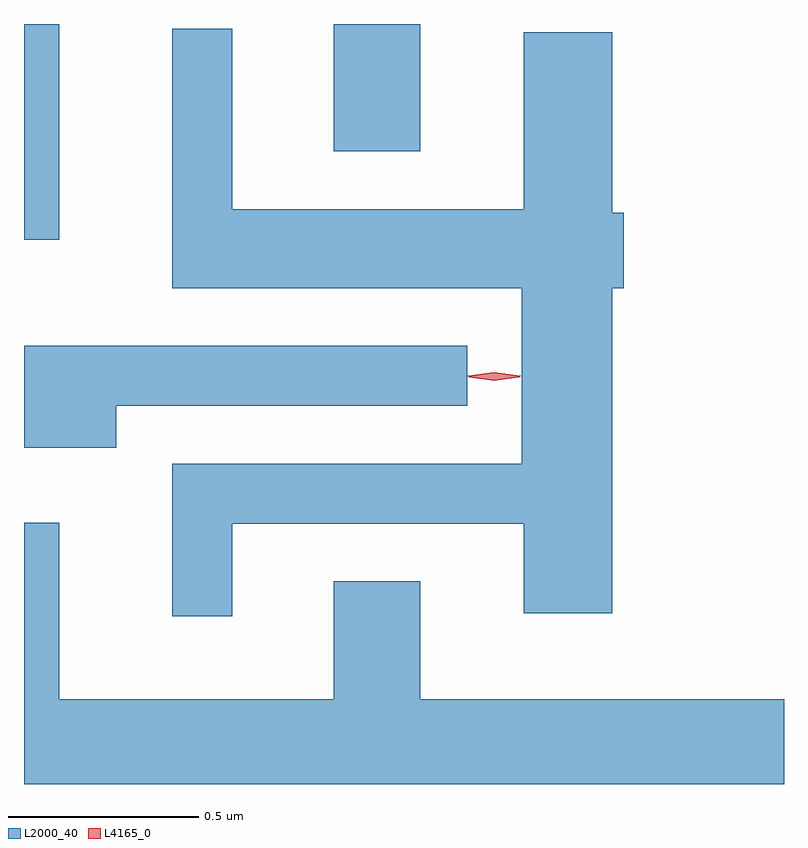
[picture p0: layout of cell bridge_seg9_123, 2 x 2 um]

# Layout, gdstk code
import gdstk
lib = gdstk.Library(unit=1e-6, precision=1e-09)
def R(c, l, rs):  # rectangles x0, y0, x1, y1
    for r in rs: c.add(gdstk.rectangle(r[:2], r[2:], *l))
def P(c, l, *ps):  # polygons
    for p in ps: c.add(gdstk.Polygon(p, *l))
L2000_40 = (2000, 40)
L4165_0 = (4165, 0)

bridge_seg9_123 = lib.new_cell('bridge_seg9_123')
R(bridge_seg9_123, L2000_40, [(1743.896,1971.093,1743.989,1971.661), (1744.711,1971.326,1744.939,1971.661)])
P(bridge_seg9_123, L2000_40, [(1744.444,1970.346),(1745.211,1970.346),(1745.211,1970.111),(1745.444,1970.111),(1745.444,1970.966),(1745.474,1970.966),(1745.474,1971.164),(1745.444,1971.164),(1745.444,1971.639),(1745.211,1971.639),(1745.211,1971.174),(1744.444,1971.174),(1744.444,1971.648),(1744.286,1971.648),(1744.286,1970.966),(1745.206,1970.966),(1745.206,1970.504),(1744.286,1970.504),(1744.286,1970.103),(1744.444,1970.103)],
  [(1744.139,1970.656),(1745.063,1970.656),(1745.063,1970.814),(1743.896,1970.814),(1743.896,1970.546),(1744.139,1970.546)],
  [(1745.896,1969.884),(1744.939,1969.884),(1744.939,1970.194),(1744.711,1970.194),(1744.711,1969.884),(1743.989,1969.884),(1743.989,1970.348),(1743.896,1970.348),(1743.896,1969.661),(1745.896,1969.661)])
P(bridge_seg9_123, L4165_0, [(1745.133,1970.725),(1745.064,1970.734),(1745.064,1970.735),(1745.064,1970.735),(1745.133,1970.745),(1745.202,1970.735),(1745.203,1970.735),(1745.202,1970.734)],
  [(1745.134,1970.722),(1745.068,1970.732),(1745.067,1970.732),(1745.068,1970.733),(1745.134,1970.742),(1745.199,1970.733),(1745.2,1970.732),(1745.199,1970.732)])

lib.write_gds('bridge_seg9_123.gds')
